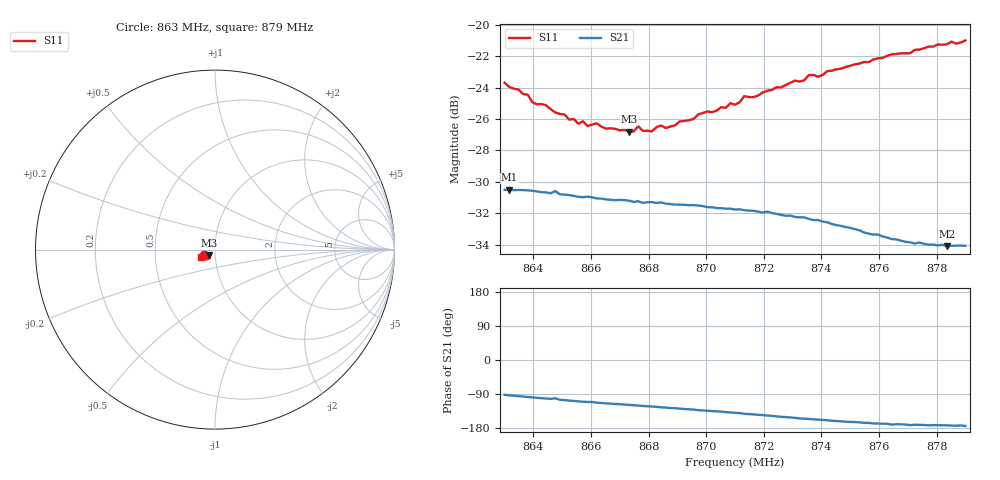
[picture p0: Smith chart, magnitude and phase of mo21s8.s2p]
# HZ S RI R 50
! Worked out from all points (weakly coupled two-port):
!   101 points, 863 MHz to 879 MHz, reference 50 ohm
!   highest |S21| = -30.50 dB at 863.16 MHz (marker M1); lowest = -34.1 dB at 878.36 MHz (marker M2)
!   lowest |S11| = -26.8 dB at 867.32 MHz (marker M3), VSWR 1.10, Z = 46.7 - j2.94 ohm
!   |S11| at or under -10 dB: start of sweep to end of sweep
!   S12 and S22 are empty: the file has one direction only
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8.63e8  -0.0595 -0.0274  -0.000971 -0.0298  0 0  0 0
8.6316e8  -0.0574 -0.0271  -0.00177 -0.0298  0 0  0 0
8.6524e8  -0.0427 -0.026  -0.00842 -0.0274  0 0  0 0
8.6556e8  -0.0408 -0.0261  -0.00925 -0.0268  0 0  0 0
8.6572e8  -0.0406 -0.028  -0.00973 -0.0265  0 0  0 0
8.6588e8  -0.0392 -0.027  -0.01 -0.0265  0 0  0 0
8.662e8  -0.0392 -0.0287  -0.0108 -0.0258  0 0  0 0
8.6652e8  -0.037 -0.0286  -0.0114 -0.0253  0 0  0 0
8.6732e8  -0.0332 -0.0314  -0.0131 -0.0242  0 0  0 0
8.6764e8  -0.0338 -0.0334  -0.0139 -0.0236  0 0  0 0
8.6812e8  -0.0317 -0.0331  -0.0148 -0.0229  0 0  0 0
8.6844e8  -0.0319 -0.0356  -0.0155 -0.0223  0 0  0 0
8.686e8  -0.0296 -0.0365  -0.0157 -0.0219  0 0  0 0
8.7084e8  -0.0332 -0.0455  -0.0194 -0.0172  0 0  0 0
8.71e8  -0.0314 -0.046  -0.0195 -0.0168  0 0  0 0
8.7132e8  -0.0334 -0.049  -0.0202 -0.0159  0 0  0 0
8.7164e8  -0.0338 -0.0482  -0.0205 -0.0152  0 0  0 0
8.7372e8  -0.0442 -0.0534  -0.0219 -0.00954  0 0  0 0
8.7388e8  -0.0441 -0.0523  -0.022 -0.00919  0 0  0 0
8.7644e8  -0.0629 -0.0505  -0.0205 -0.00341  0 0  0 0
8.7836e8  -0.0753 -0.0433  -0.0195 -0.00258  0 0  0 0
8.79e8  -0.0797 -0.0403  -0.0197 -0.00201  0 0  0 0
